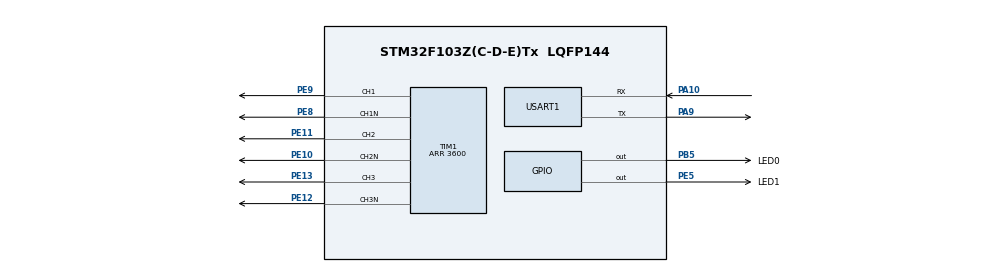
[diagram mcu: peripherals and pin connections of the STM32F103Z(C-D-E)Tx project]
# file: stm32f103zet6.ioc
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Dma.Request0=USART1_RX
Dma.Request1=USART1_TX
Dma.USART1_RX.0.Direction=DMA_PERIPH_TO_MEMORY
Dma.USART1_RX.0.Instance=DMA1_Channel5
Dma.USART1_RX.0.MemDataAlignment=DMA_MDATAALIGN_BYTE
Dma.USART1_RX.0.MemInc=DMA_MINC_ENABLE
Dma.USART1_RX.0.Mode=DMA_CIRCULAR
Dma.USART1_RX.0.PeriphDataAlignment=DMA_PDATAALIGN_BYTE
Dma.USART1_RX.0.PeriphInc=DMA_PINC_DISABLE
Dma.USART1_RX.0.Priority=DMA_PRIORITY_HIGH
Dma.USART1_TX.1.Direction=DMA_MEMORY_TO_PERIPH
Dma.USART1_TX.1.Instance=DMA1_Channel4
Dma.USART1_TX.1.MemDataAlignment=DMA_MDATAALIGN_BYTE
Dma.USART1_TX.1.MemInc=DMA_MINC_ENABLE
Dma.USART1_TX.1.Mode=DMA_NORMAL
Dma.USART1_TX.1.PeriphDataAlignment=DMA_PDATAALIGN_BYTE
Dma.USART1_TX.1.PeriphInc=DMA_PINC_DISABLE
Dma.USART1_TX.1.Priority=DMA_PRIORITY_MEDIUM
Mcu.Family=STM32F1
Mcu.Name=STM32F103Z(C-D-E)Tx
Mcu.Package=LQFP144
NVIC.DMA1_Channel4_IRQn=true\:0\:0\:false\:false\:true\:false\:true\:true
NVIC.DMA1_Channel5_IRQn=true\:0\:0\:false\:false\:true\:false\:true\:true
NVIC.PriorityGroup=NVIC_PRIORITYGROUP_4
NVIC.USART1_IRQn=true\:1\:0\:true\:false\:true\:true\:true\:true
OSC_IN.Mode=HSE-External-Oscillator
OSC_IN.Signal=RCC_OSC_IN
OSC_OUT.Mode=HSE-External-Oscillator
OSC_OUT.Signal=RCC_OSC_OUT
PA10.Mode=Asynchronous
PA10.Signal=USART1_RX
PA13.Mode=Serial_Wire
PA13.Signal=SYS_JTMS-SWDIO
PA14.Mode=Serial_Wire
PA14.Signal=SYS_JTCK-SWCLK
PA9.Mode=Asynchronous
PA9.Signal=USART1_TX
PB5.GPIO_Label=LED0
PB5.GPIO_ModeDefaultOutputPP=GPIO_MODE_OUTPUT_PP
PB5.GPIO_PuPd=GPIO_PULLDOWN
PB5.GPIO_Speed=GPIO_SPEED_FREQ_MEDIUM
PB5.Signal=GPIO_Output
PE10.GPIO_Speed=GPIO_SPEED_FREQ_MEDIUM
PE10.Mode=PWM Generation2 CH2 CH2N
PE10.Signal=TIM1_CH2N
PE11.GPIO_Speed=GPIO_SPEED_FREQ_MEDIUM
PE11.Signal=S_TIM1_CH2
PE12.GPIO_Speed=GPIO_SPEED_FREQ_MEDIUM
PE12.Mode=PWM Generation3 CH3 CH3N
PE12.Signal=TIM1_CH3N
PE13.GPIO_Speed=GPIO_SPEED_FREQ_MEDIUM
PE13.Signal=S_TIM1_CH3
PE5.GPIO_Label=LED1
PE5.GPIO_PuPd=GPIO_PULLDOWN
PE5.GPIO_Speed=GPIO_SPEED_FREQ_MEDIUM
PE5.Signal=GPIO_Output
PE8.GPIO_Speed=GPIO_SPEED_FREQ_MEDIUM
PE8.Mode=PWM Generation1 CH1 CH1N
PE8.Signal=TIM1_CH1N
PE9.GPIO_Speed=GPIO_SPEED_FREQ_MEDIUM
PE9.Signal=S_TIM1_CH1
ProjectManager.HeapSize=0x200
ProjectManager.StackSize=0x400
ProjectManager.TargetToolchain=MDK-ARM V5.32
RCC.AHBFreq_Value=72000000
RCC.APB1CLKDivider=RCC_HCLK_DIV2
RCC.APB1Freq_Value=36000000
RCC.APB1TimFreq_Value=72000000
RCC.APB2Freq_Value=72000000
RCC.APB2TimFreq_Value=72000000
RCC.HCLKFreq_Value=72000000
RCC.PLLMUL=RCC_PLL_MUL9
RCC.PLLSourceVirtual=RCC_PLLSOURCE_HSE
RCC.SYSCLKFreq_VALUE=72000000
RCC.SYSCLKSource=RCC_SYSCLKSOURCE_PLLCLK
RCC.USBFreq_Value=72000000
SH.S_TIM1_CH1.0=TIM1_CH1,PWM Generation1 CH1 CH1N
SH.S_TIM1_CH2.0=TIM1_CH2,PWM Generation2 CH2 CH2N
SH.S_TIM1_CH3.0=TIM1_CH3,PWM Generation3 CH3 CH3N
TIM1.AutoReloadPreload=TIM_AUTORELOAD_PRELOAD_ENABLE
TIM1.Channel-PWM\ Generation1\ CH1\ CH1N=TIM_CHANNEL_1
TIM1.Channel-PWM\ Generation2\ CH2\ CH2N=TIM_CHANNEL_2
TIM1.Channel-PWM\ Generation3\ CH3\ CH3N=TIM_CHANNEL_3
TIM1.CounterMode=TIM_COUNTERMODE_CENTERALIGNED1
TIM1.DeadTime=100
TIM1.OCMode_PWM-PWM\ Generation1\ CH1\ CH1N=TIM_OCMODE_PWM2
TIM1.OCMode_PWM-PWM\ Generation2\ CH2\ CH2N=TIM_OCMODE_PWM2
TIM1.OCMode_PWM-PWM\ Generation3\ CH3\ CH3N=TIM_OCMODE_PWM2
TIM1.Period=3600
TIM1.Pulse-PWM\ Generation1\ CH1\ CH1N=1200
TIM1.Pulse-PWM\ Generation2\ CH2\ CH2N=1200
TIM1.Pulse-PWM\ Generation3\ CH3\ CH3N=1200
TIM1.RepetitionCounter=1
TIM1.TIM_MasterOutputTrigger=TIM_TRGO_UPDATE
USART1.VirtualMode=VM_ASYNC
VP_TIM1_VS_ClockSourceINT.Mode=Internal
board=custom

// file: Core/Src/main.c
/* USER CODE BEGIN Header */
/**
  ******************************************************************************
  * @file           : main.c
  * @brief          : Main program body
  ******************************************************************************
  * @attention
  *
  * Copyright (c) 2025 STMicroelectronics.
  * All rights reserved.
  *
  * This software is licensed under terms that can be found in the LICENSE file
  * in the root directory of this software component.
  * If no LICENSE file comes with this software, it is provided AS-IS.
  *
  ******************************************************************************
  */
/* USER CODE END Header */
#include "main.h"
#include "dma.h"
#include "tim.h"
#include "usart.h"
#include "gpio.h"

/* USER CODE BEGIN Includes */
#include "myUsartDrive/myUsartDrive.h"
/* USER CODE END Includes */

void SystemClock_Config(void);

int main(void)
{
  /* USER CODE BEGIN 1 */
  uint32_t fre = 0;
  /* USER CODE END 1 */

  /* MCU Configuration--------------------------------------------------------*/

  /* Reset of all peripherals, Initializes the Flash interface and the Systick. */
  LL_APB2_GRP1_EnableClock(LL_APB2_GRP1_PERIPH_AFIO);
  LL_APB1_GRP1_EnableClock(LL_APB1_GRP1_PERIPH_PWR);

  /* System interrupt init*/
  NVIC_SetPriorityGrouping(NVIC_PRIORITYGROUP_4);

  /* SysTick_IRQn interrupt configuration */
  NVIC_SetPriority(SysTick_IRQn, NVIC_EncodePriority(NVIC_GetPriorityGrouping(),15, 0));

  /** NOJTAG: JTAG-DP Disabled and SW-DP Enabled
  */
  LL_GPIO_AF_Remap_SWJ_NOJTAG();

  /* Configure the system clock */
  SystemClock_Config();

  /* Initialize all configured peripherals */
  MX_GPIO_Init();
  MX_DMA_Init();
  MX_USART1_UART_Init();
  MX_TIM1_Init();
  /* USER CODE BEGIN 2 */
  USART1_Config();

  // 分别使能6个通道
  LL_TIM_CC_EnableChannel(TIM1, LL_TIM_CHANNEL_CH1);
  LL_TIM_CC_EnableChannel(TIM1, LL_TIM_CHANNEL_CH1N);
  LL_TIM_CC_EnableChannel(TIM1, LL_TIM_CHANNEL_CH2);
  LL_TIM_CC_EnableChannel(TIM1, LL_TIM_CHANNEL_CH2N);
  LL_TIM_CC_EnableChannel(TIM1, LL_TIM_CHANNEL_CH3);
  LL_TIM_CC_EnableChannel(TIM1, LL_TIM_CHANNEL_CH3N);
  LL_TIM_EnableAllOutputs(TIM1); // 主输出使能（把 BDTR 寄存器的 MOE（主输出使能，bit15）置 1，从而真正打开高级定时器的输出死区、刹车等保护之后的 PWM 输出。）
  LL_TIM_EnableCounter(TIM1); // 启动定时器

  // 通过软件方式修改各个通道的占空比
  LL_TIM_OC_SetCompareCH1(TIM1, 900);  // 写入 TIM1->CCR1
  LL_TIM_OC_SetCompareCH2(TIM1, 900);  // 写入 TIM1->CCR2
  LL_TIM_OC_SetCompareCH3(TIM1, 900);  // 写入 TIM1->CCR3
  LL_TIM_GenerateEvent_UPDATE(TIM1);   // 修改 CCR 之后，如果想立即生效，可手动触发一次更新

  /* USER CODE END 2 */

  /* Infinite loop */
  while (1)
  {

    /* USER CODE BEGIN 3 */
    if (fre % 100 == 0) {
        LL_GPIO_TogglePin(LED0_GPIO_Port,LED0_Pin);
    }

    USART1_Module_Run(); // 1.处理接收ringbuffer的消息。2.将发送ringbuffer的消息，使用DMA一次性发送出去。

    fre++;
    LL_mDelay(1);
  }
  /* USER CODE END 3 */
}

void SystemClock_Config(void)
{
  LL_FLASH_SetLatency(LL_FLASH_LATENCY_2);
  while(LL_FLASH_GetLatency()!= LL_FLASH_LATENCY_2)
  {
  }
  LL_RCC_HSE_Enable();

   /* Wait till HSE is ready */
  while(LL_RCC_HSE_IsReady() != 1)
  {

  }
  LL_RCC_PLL_ConfigDomain_SYS(LL_RCC_PLLSOURCE_HSE_DIV_1, LL_RCC_PLL_MUL_9);
  LL_RCC_PLL_Enable();

   /* Wait till PLL is ready */
  while(LL_RCC_PLL_IsReady() != 1)
  {

  }
  LL_RCC_SetAHBPrescaler(LL_RCC_SYSCLK_DIV_1);
  LL_RCC_SetAPB1Prescaler(LL_RCC_APB1_DIV_2);
  LL_RCC_SetAPB2Prescaler(LL_RCC_APB2_DIV_1);
  LL_RCC_SetSysClkSource(LL_RCC_SYS_CLKSOURCE_PLL);

   /* Wait till System clock is ready */
  while(LL_RCC_GetSysClkSource() != LL_RCC_SYS_CLKSOURCE_STATUS_PLL)
  {

  }
  LL_Init1msTick(72000000);
  LL_SetSystemCoreClock(72000000);
}

void Error_Handler(void)
{
  __disable_irq();
  while (1)
  {
  }
}
